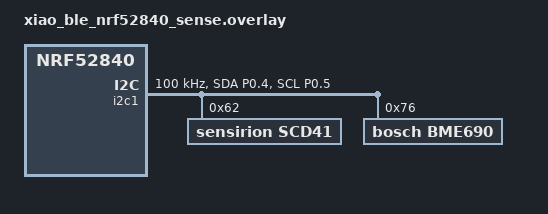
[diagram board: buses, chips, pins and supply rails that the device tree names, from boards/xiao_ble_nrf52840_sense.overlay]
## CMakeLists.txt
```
cmake_minimum_required(VERSION 3.20.0)

find_package(Zephyr REQUIRED HINTS $ENV{ZEPHYR_BASE})
project(co2_sensor)

target_sources(app PRIVATE 
   src/main.cpp
   src/bme690.cpp
   src/scd41.cpp
   src/task.cpp
   src/util.cpp
)
```

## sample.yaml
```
sample:
  name: I2C co2 sensor 
tests:
  sample.drivers.i2c.custom_target:
    tags: i2c_target
    platform_allow:
      - lpcxpresso55s69/lpc55s69/cpu0
    harness: TBD
```

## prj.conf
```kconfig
CONFIG_I2C=y
CONFIG_GPIO=y
CONFIG_SENSOR=y
CONFIG_SCD4X=y
CONFIG_BME690=y
CONFIG_CBPRINTF_FP_SUPPORT=y
CONFIG_I2C_SHELL=y
```

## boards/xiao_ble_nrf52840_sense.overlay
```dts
&pinctrl {
    i2c1_default: i2c1_default {
        group1 {
            psels = <NRF_PSEL(TWIM_SDA, 0, 4)>,
                    <NRF_PSEL(TWIM_SCL, 0, 5)>;
            bias-pull-up; 
        };
    };

    i2c1_sleep: i2c1_sleep {
        group1 {
            psels = <NRF_PSEL(TWIM_SDA, 0, 4)>,
                    <NRF_PSEL(TWIM_SCL, 0, 5)>;
            low-power-enable;
        };
    };
};

&i2c1 {
    compatible = "nordic,nrf-twim";
    status = "okay";
    clock-frequency = <I2C_BITRATE_STANDARD>;
    pinctrl-0 = <&i2c1_default>;
    pinctrl-1 = <&i2c1_sleep>;
    pinctrl-names = "default", "sleep";

    scd41: scd41@62 {
        compatible = "sensirion,scd41";
        reg = <0x62>;
        label = "SCD41";
        mode = <0>; // Normal periodic measurement
        status = "okay";
    };

    bme690: bme690@76 {
        compatible = "bosch,bme690";
        reg = <0x76>;
        label = "BME690";
        mode = <1>; // Single TPHG cycle is performed. Sensor automatically retruns to sleep mode. Gas sensopr heater only operates during gas measurement.
        status = "okay";
    };
};
```

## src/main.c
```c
/*
 * AirObserver 
 *
 * Created by Matias Villa
 *
 * INITIAL TESTING OF SCD41 AND BME690 CONNECTED TOGETHER IN PARALLEL ON BREADBOARD
 */

#include <zephyr/device.h>
#include <zephyr/kernel.h>
#include <zephyr/drivers/sensor.h>
#include <zephyr/drivers/i2c.h>
#include <zephyr/logging/log.h>
#include <zephyr/sys/__assert.h>
#include <zephyr/sys/byteorder.h>
#include <zephyr/sys/crc.h>
#include <zephyr/devicetree.h>
#include <zephyr/drivers/sensor/scd4x.h>
#include "bme690.h"
#include "scd41.h"

#define I2C0_NODE DT_NODELABEL(bme690)

const struct i2c_dt_spec bme_dev = I2C_DT_SPEC_GET(I2C0_NODE);
struct gas_info gas_calib;
struct gas_parsed curated_gas;

int main(void) {

   const struct device *const dev = DEVICE_DT_GET(DT_NODELABEL(scd41));
   
   k_sleep(K_SECONDS(2));
   printk("|BOOT|\n");

   // Make sure the driver initialized successfully on boot
   if (!device_is_ready(dev) || !device_is_ready(bme_dev.bus)) {
      printk("Sensors not ready!\n");
      return 0;
   } else printk("Sensors ready!\n");
   
   k_sleep(K_MSEC(200)); // Give some time to initialize the next sensor
  
   run_readings();

   while (true){
      printk("Performing gas resistance measurement...\n");

      start_gas_measurement();       // trigger a NEW measurement each cycle
      k_sleep(K_MSEC(1000));         // give heater + conversion time to complete

      bool is_ready = new_gas_readout();
      if (is_ready) {
         parse_gas_readings();
         printk("Gas resistance level is: [%.3f] ohms\n", (double)gas_calib.gas_ohms);
      } else printk("Measurement not ready this cycle, skipping.\n");
      

      k_sleep(K_MSEC(2000));        // spacing between measurement cycles
      if (sensor_sample_fetch(dev) < 0) {
         printk("Failed to fetch sample\n");
         continue;
      }

      fetch_scd41_readings();       
      // Measure every 5 seconds.
      k_sleep(K_MSEC(5000));
   }
} 
```

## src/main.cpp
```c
/*
 * 
 * main.cpp
 * Created by Matias Villa
 *
 * INITIAL TESTING OF SCD41 AND BME690 CONNECTED TOGETHER IN PARALLEL ON BREADBOARD
 */

#include <zephyr/device.h>
#include <zephyr/kernel.h>
#include <zephyr/drivers/sensor.h>
#include <zephyr/drivers/i2c.h>
#include <zephyr/devicetree.h>
#include <zephyr/drivers/sensor/scd4x.h>
#include "bme690.hpp"
#include "task.hpp"
#include "scd41.hpp"
#include "zephyr/sys/clock.h"

#define STACKSIZE          1024
#define BME690_PRIORITY    7
#define SCD41_PRIORITY     7

#define I2C0_NODE DT_NODELABEL(bme690)

K_THREAD_DEFINE(bme690_id, STACKSIZE, AirObserver::bme690_thread, NULL, NULL, NULL, BME690_PRIORITY, 0, K_TICKS_FOREVER);

K_THREAD_DEFINE(scd41_id, STACKSIZE, AirObserver::scd41_thread, NULL, NULL, NULL, SCD41_PRIORITY, 0, K_TICKS_FOREVER);

int main(void) {

//   const struct device *const dev = DEVICE_DT_GET(DT_NODELABEL(scd41));
   auto c = BME690::ctx(); 
   auto scd = SCD41::ctx_scd41();
   printk("|BOOT|\n");

   // Make sure the driver initialized successfully on boot
   if (!device_is_ready(scd.dev) || !device_is_ready(c.bme_dev.bus)) {
      printk("Sensors not ready!\n");
      return 0;
   } else printk("Sensors ready!\n");

   k_thread_start(bme690_id);
   k_thread_start(scd41_id);
   
} 
```

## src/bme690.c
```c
/*
 * AirObserver 
 *
 * Created by Matias Villa
 *
 * INITIAL TESTING OF THE BOSCH BME690 -> ONLY USING GAS SENSORS.
 */

#include <stdint.h>
#include <zephyr/device.h>
#include <zephyr/kernel.h>
#include <zephyr/drivers/i2c.h>
#include "bme690.h"

#define I2C0_NODE DT_NODELABEL(bme690)
// REGISTER ADDRESSES FOR CALCULATING GAS STUFF
#define     PAR_G1          0xED
#define     PAR_G2          0xEB
#define     PAR_G2_B        0xEC
#define     PAR_G3          0xEE
#define     RES_HEAT_RANGE  0x02
#define     RES_HEAT_VALUE  0x00
#define     AMB_TEMP        26
#define     TARGET_TEMP     200  
#define     CTRL_MEAS       0x74
#define     CTRL_GAS_1      0x71 // bit 5 = run_gas, bit <3:0> nb_conv 
#define     RES_HEAT_0      0x5a                                   
#define     GAS_WAIT_0      0x64  
#define     RESET_REG       0xE0
#define     RESET_CMD       0xB6
#define     CTRL_MEAS_OSRS  0x24  // temp x1, pressure x1, mode bits untouched here
#define     GAS_ADC         0x2D

extern const struct i2c_dt_spec           bme_dev;
extern struct gas_info                    gas_calib;
extern struct gas_parsed                  curated_gas;

void configure_oversampling(void){
   uint8_t ctrl_meas_val[2] = {CTRL_MEAS, CTRL_MEAS_OSRS};
   i2c_write_dt(&bme_dev, ctrl_meas_val, sizeof(ctrl_meas_val));
   k_sleep(K_MSEC(10));
}

void soft_reset(void){
   uint8_t buf[2] = {RESET_REG, RESET_CMD};
   i2c_write_dt(&bme_dev, buf, sizeof(buf));
   k_sleep(K_MSEC(100)); // datasheet: allow ~2ms, use 100ms super margin
}

void fetch_gas_values(void){
   // Fetch register values from registers and save to struct before performing heating of gas sensor
   uint8_t reg_1     =     PAR_G1;
   uint8_t reg_2     =     PAR_G2;
   uint8_t reg_3     =     PAR_G3;
   uint8_t range_reg =     RES_HEAT_RANGE;
   uint8_t val_reg   =     RES_HEAT_VALUE;
   uint8_t raw_range;
   int8_t  raw_val;

   i2c_write_read_dt(&bme_dev, &reg_1, 1, &gas_calib.par_g1, sizeof(gas_calib.par_g1));
   k_sleep(K_MSEC(50));
   i2c_write_read_dt(&bme_dev, &reg_2, 1, &gas_calib.par_g2, sizeof(gas_calib.par_g2));
   k_sleep(K_MSEC(50));
   i2c_write_read_dt(&bme_dev, &reg_3, 1, &gas_calib.par_g3, sizeof(gas_calib.par_g3));
   k_sleep(K_MSEC(50));

   i2c_write_read_dt(&bme_dev, &range_reg, 1, &raw_range, 1);
   gas_calib.res_range = (raw_range >> 4) & 0x03;   // res_heat_range bits <5:4>

   k_sleep(K_MSEC(50));
   i2c_write_read_dt(&bme_dev, &val_reg, 1, (uint8_t *)&raw_val, 1);
   gas_calib.res_heat = raw_val;                     
}

void calc_res_heat(void){
   // Formula provided by Bosch in the datasheet
   // Calculate the values necessary for sensor calibration
   double var1 = ((double)gas_calib.par_g1 / 16.0) + 49.0;
   double var2 = (((double)gas_calib.par_g2 / 32768.0) * 0.0005) + 0.00235;
   double var3 = (double)gas_calib.par_g3 / 1024.0;
   double var4 = var1 * (1.0 + (var2 * (double)TARGET_TEMP)); 
   double var5 = var4 + (var3 * (double)AMB_TEMP);
   double res_heat_x = (uint8_t)(3.4 * ((var5 * (4.0 / (4.0 + (double)gas_calib.res_range))) * (1.0 / (1.0 + (double)gas_calib.res_heat * 0.002))) - 25);
   // sensor is calibrated
   gas_calib.is_calib = res_heat_x;
}

void start_gas_measurement(void){
    uint8_t gas_wait_0[2] = {GAS_WAIT_0, 0x59};
    uint8_t res_heat_0[2] = {RES_HEAT_0, (uint8_t)gas_calib.is_calib};
    uint8_t ctrl_gas_1 = CTRL_GAS_1;
    uint8_t ctrl_meas = CTRL_MEAS;
    uint8_t run_gas;
    uint8_t set_mode;
    
    // 1) Set gas_wait_0 duration
    int err = i2c_write_dt(&bme_dev, gas_wait_0, sizeof(gas_wait_0));
    if (err != 0) printk("Error writing gas_wait_0\n");
    
    k_sleep(K_MSEC(10));

    // 2) Write target heater resistance to res_heat_0
    err = i2c_write_dt(&bme_dev, res_heat_0, sizeof(res_heat_0));
    if (err != 0) printk("Error writing res_heat_0\n");
    
    k_sleep(K_MSEC(10));

    // 3 & 4) Enable gas measurement bit (run_gas)
    err = i2c_write_read_dt(&bme_dev, &ctrl_gas_1, 1, &run_gas, 1);
    if (err != 0) {
        printk("Error reading ctrl_gas_1\n");
    } else {
        run_gas &= ~0x0F;     // clear nb_conv index to 0
        run_gas |= (1 << 5);  // set run_gas bit
        uint8_t buf[2] = {CTRL_GAS_1, run_gas};
        i2c_write_dt(&bme_dev, buf, sizeof(buf));
    }

    k_sleep(K_MSEC(10));

    // 5) Set mode <1:0> to 0b01 to trigger Forced Mode measurement
    err = i2c_write_read_dt(&bme_dev, &ctrl_meas, 1, &set_mode, 1);
    if (err != 0) {
        printk("Error reading ctrl_meas\n");
    } else {
        set_mode &= ~0x03; // Clear bits 1:0
        set_mode |= 0x01;  // Set Forced Mode (0b01)

        uint8_t buf2[2] = {CTRL_MEAS, set_mode};
        i2c_write_dt(&bme_dev, buf2, sizeof(buf2));
    }
}

void print_gas_values(){
   printk("*---CHECK VALUES FETCHED FROM REGISTERS---*\n");
   printk("PAR_G1:            [%d]\n", gas_calib.par_g1);
   printk("PAR_G2:            [%d]\n", gas_calib.par_g2);
   printk("PAR_G3:            [%d]\n", gas_calib.par_g3);
   printk("HEAT RESISTANCE:   [%d]\n", gas_calib.res_heat);
   printk("RESISTANCE RANGE:  [%d]\n", gas_calib.res_range);
}

void read_meas_regs(void){
   // Helper for debug prints
   uint8_t read_data_0;
   uint8_t meas_status_0 = 0x1D;

   // CHECK REGISTER CTRL_MEAS_0 TO SEE DATA
   int new_data = i2c_write_read_dt(&bme_dev, &meas_status_0, 1, &read_data_0, 1);
   if (new_data != 0) printk("Error writing to register\n");
   else printk("Data gathered from meas_status[0]: [%d]\n", read_data_0);
}

bool new_gas_readout(void){
   // IF HEAT_STAB_R IS EQUAL TO 1, SENSOR IS READY TO MEASURE GAS IN ENVIROEMENT
   uint8_t gas_r_lsb = 0x2D;
   uint8_t heat_stab_r;

   int err = i2c_write_read_dt(&bme_dev, &gas_r_lsb, 1, &heat_stab_r, 1);

   if (err != 0) {
      printk("Error writing to register\n");
      return false;
   }
   else{
      if ((heat_stab_r & 16) != 16){
         // CHECK IF VALUE OF BIT NUMBER 4 IS 1, IF 0 THERE IS NO VALID DATA.
         printk("There is no valid data. Value of bit 4 is: 0\n");
         return false;
      }
      printk("Sensor ready to perform readings!\n");
      curated_gas.heat_stab_reg = heat_stab_r;
      return true;
   }
}

void parse_gas_readings(void){
   // CONVERT GAS RESISTANCE MEASUREMENT TO OHMS. 
   // ELI5 EXPLANATION: THE GREATER THE RESISTANCE, CLEANER THE AIR.
   // YET TO IMPLEMENT A MORE INTUITIVE READING OF GAS IN ENVIROEMENT.
   uint8_t msb_reg = 0x2C;
   uint8_t lsb_reg = 0x2D;
   uint8_t gas_r_msb;
   uint8_t gas_r_lsb;
   uint16_t gas_adc;
   uint8_t gas_range;

   int err = i2c_write_read_dt(&bme_dev, &msb_reg, 1, &gas_r_msb, 1);
   if (err != 0) printk("Error reading gas_r_msb\n");

   err = i2c_write_read_dt(&bme_dev, &lsb_reg, 1, &gas_r_lsb, 1);
   if (err != 0) printk("Error reading gas_r_lsb\n");
   
   gas_adc   = ((uint16_t)gas_r_msb << 2) | (gas_r_lsb >> 6); // "Lives" on bit <7:6>
   gas_range = gas_r_lsb & 0x0F;                              // "Lives" on bits <3:0> 
   
   // DEBUG/CURIOSITY PRINT
   printk("gas_adc: [%d], gas_range: [%d]\n", gas_adc, gas_range);
   
   curated_gas.adc_gas = gas_adc;
   curated_gas.range_gas = gas_range;
   
   // FORMULA PROVIDED BY BOSCH DATASHEET ->
   // CONVERT ANALOG READS INTO OHMS
   uint32_t var1 = UINT32_C(262144) >> gas_range;
   int32_t var2 = (int32_t) gas_adc - INT32_C(512);
   var2 *= INT32_C(3);
   var2 = INT32_C(4096) + var2;
   float gas_res = 1000000.0f * (float)var1 / (float)var2;
   gas_calib.gas_ohms = gas_res;
}

void run_readings(void){
   uint8_t reg_addr = 0xD0;
   uint8_t chip_id = 0;

   //Fetch Chip ID to confirm a succesful I2C transaction
   int ret = i2c_write_read_dt(&bme_dev, &reg_addr, 1, &chip_id, 1);
   printk("Get CHIP ID from I2C bus to verify a succesful transaction: \n");
   if (ret != 0) {
       printk("Error reading Chip ID! Error code: %d\n", ret);
   } else {
       printk("Data gathered (Chip ID): [0x%02X]\n", chip_id);
   }
   k_sleep(K_MSEC(500)); 
   
   // EXPERIMENTAL GAS SENSOR SEQUENCE (FIELD 0)
   printk("Fetching values to perform calibration...\n");
   fetch_gas_values();
   print_gas_values();
   printk("Calculating res_heat_x\n");
   k_sleep(K_SECONDS(5));
   calc_res_heat();
   printk("res_heat_x: [%d]\n", gas_calib.is_calib);
   printk("Enabling gas measurment...\n");
   configure_oversampling();
   k_sleep(K_SECONDS(2));
   start_gas_measurement();
   k_sleep(K_SECONDS(2));
   read_meas_regs();
}
```

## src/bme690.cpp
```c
/*
 * bme690.cpp
 * Created by Matias Villa
 *
 */

#include <stdint.h>
#include <zephyr/device.h>
#include <zephyr/kernel.h>
#include <zephyr/drivers/i2c.h>
#include "bme690.hpp"
#include "util.hpp"

#define I2C0_NODE DT_NODELABEL(bme690)

namespace BME690
{

   measurement_steps          current_meas_step;      // mini statemachine for heating sensor 
   struct fetch_flag          gas_was_fetched;        // bool flags to verify succesful i2c transactions

   static uint8_t             gas_pool_idx;           // index for elements in gas queue 
   static size_t              step_idx         = 0;   // index for elements in the registers array
   static int                 retry_count      = 0;   // index for i2c retries when transaction fails on fetch work handler 
   static int                 meas_retry_count = 0;   // index for i2c retries when transaction fails on measurement work handler

   struct Context bme_ctx{
      .bme_dev = I2C_DT_SPEC_GET(I2C0_NODE),
   };
   
   Context& ctx() {return bme_ctx;}

   void fetch_work_handler(struct k_work *work) {
      // FETCH REGISTERS VALUES NECESSARY TO PERFORM SENSOR HEATING AND CALIBRATION
      auto &c = ctx();
      auto &c_util = UTIL::util_ctx();

      struct gas_fetched steps[] = {
         { BME690::REGISTERS::PAR_G1,         &c.gas_calib.par_g1,    sizeof(c.gas_calib.par_g1),    &gas_was_fetched.par_g1    },
         { BME690::REGISTERS::PAR_G2,         &c.gas_calib.par_g2,    sizeof(c.gas_calib.par_g2),    &gas_was_fetched.par_g2    },
         { BME690::REGISTERS::PAR_G3,         &c.gas_calib.par_g3,    sizeof(c.gas_calib.par_g3),    &gas_was_fetched.par_g3    },
         { BME690::REGISTERS::RES_HEAT_RANGE, &c.gas_calib.raw_range, sizeof(c.gas_calib.raw_range), &gas_was_fetched.res_range },
         { BME690::REGISTERS::RES_HEAT_VALUE, &c.gas_calib.raw_val,   sizeof(c.gas_calib.raw_val),   &gas_was_fetched.res_heat  },
      };

      struct gas_fetched *s = &steps[step_idx];

      int rc = i2c_write_read_dt(&c.bme_dev, &s->reg, 1, s->dest, s->len);

      if (rc == 0) {
         *s->fetched_flag = true;
         step_idx++;
         retry_count = 0;
      } else {
         printk("I2C error on step %u (reg 0x%02x): [%d]\n", step_idx, s->reg, rc);
         retry_count++;
         if (retry_count >= BME690::I2C_RETRY) {
            *s->fetched_flag = false;   // give up on this one, move on so we don't hang forever
            step_idx++;
            retry_count = 0;
         }
         // else: step_idx unchanged -> same step gets retried on next schedule
      }

      if (step_idx < ARRAY_SIZE(steps)) {
         k_work_schedule(&c_util.gas_work, K_MSEC(UTIL::I2C_WAIT_MS));
      } else {
         c.gas_calib.res_range = (c.gas_calib.raw_range >> 4) & 0x03;   // bits <5:4>
         c.gas_calib.res_heat  = c.gas_calib.raw_val;
         step_idx = 0;   // reset for next fetch cycle
         k_sem_give(&c_util.sem_gas);
      }
   }

   void configure_oversampling(void) {
      auto &c = ctx();
      // configure sensor oversampling rate for gas sensor
      uint8_t ctrl_meas_val[2] = {BME690::REGISTERS::CTRL_MEAS, BME690::REGISTERS::CTRL_MEAS_OSRS};
      i2c_write_dt(&c.bme_dev, ctrl_meas_val, sizeof(ctrl_meas_val));
   }

   void soft_reset(void) {
      auto &c = ctx();
      // PERORM A SOFTWARE RESET
      uint8_t buf[2] = {BME690::REGISTERS::RESET_REG, BME690::REGISTERS::RESET_CMD};
      i2c_write_dt(&c.bme_dev, buf, sizeof(buf));
   }

   void calc_res_heat(void) {
      // Formula provided by Bosch in the datasheet
      // Calculate the values necessary for sensor calibration
      // Heat resistance calculation
      auto &c = ctx();
      double var1       = ((double)c.gas_calib.par_g1 / 16.0) + 49.0;
      double var2       = (((double)c.gas_calib.par_g2 / 32768.0) * 0.0005) + 0.00235;
      double var3       = (double)c.gas_calib.par_g3 / 1024.0;
      double var4       = var1 * (1.0 + (var2 * (double)BME690::REGISTERS::TARGET_TEMP));
      double var5       = var4 + (var3 * (double)BME690::REGISTERS::AMB_TEMP);
      double res_heat_x = (uint8_t)(3.4 * ((var5 * (4.0 / (4.0 + (double)c.gas_calib.res_range))) *
                           (1.0 / (1.0 + (double)c.gas_calib.res_heat * 0.002))) - 25);
      // sensor is calibrated
      c.gas_calib.is_calib = res_heat_x;
   }

   void measurement_work_handler(struct k_work *measurements) {
      // HEAT GAS SENSOR
      auto &c = ctx();
      auto &util_c = UTIL::util_ctx();

      uint8_t gas_wait_0[2] = {BME690::REGISTERS::GAS_WAIT_0, 0x59};
      uint8_t res_heat_0[2] = {BME690::REGISTERS::RES_HEAT_0, (uint8_t)c.gas_calib.is_calib};
      uint8_t ctrl_gas_1    =  BME690::REGISTERS::CTRL_GAS_1;
      uint8_t ctrl_meas     =  BME690::REGISTERS::CTRL_MEAS;
      uint8_t run_gas;
      uint8_t set_mode;
      int rc = 0;

      switch (current_meas_step) {

      case GAS_WAIT_X:
         rc = i2c_write_dt(&c.bme_dev, gas_wait_0, sizeof(gas_wait_0));
         if (rc != 0) {
            printk("Error writing gas_wait_0: [%d]\n", rc);
            if (++meas_retry_count < BME690::I2C_RETRY) {
               k_work_schedule(&util_c.meas_steps, K_MSEC(UTIL::I2C_WAIT_MS));
               return;   // retry same step
            }
            printk("Giving up on gas_wait_0 after %d retries\n", BME690::I2C_RETRY);
         }
         meas_retry_count  = 0;
         current_meas_step = RES_HEAT_X;
         k_work_schedule(&util_c.meas_steps, K_MSEC(UTIL::I2C_WAIT_MS));
         break;

      case RES_HEAT_X:
         rc = i2c_write_dt(&c.bme_dev, res_heat_0, sizeof(res_heat_0));
         if (rc != 0) {
            printk("Error writing res_heat_0: [%d]\n", rc);
            if (++meas_retry_count < BME690::I2C_RETRY) {
               k_work_schedule(&util_c.meas_steps, K_MSEC(UTIL::I2C_WAIT_MS));
               return;
            }
            printk("Giving up on res_heat_0 after %d retries\n", BME690::I2C_RETRY);
         }
         meas_retry_count  = 0;
         current_meas_step = RUN_GAS;
         k_work_schedule(&util_c.meas_steps, K_MSEC(UTIL::I2C_WAIT_MS));
         break;

      case RUN_GAS:
         rc = i2c_write_read_dt(&c.bme_dev, &ctrl_gas_1, 1, &run_gas, 1);
         if (rc != 0) {
            printk("Error reading ctrl_gas_1: [%d]\n", rc);
            if (++meas_retry_count < BME690::I2C_RETRY) {
               k_work_schedule(&util_c.meas_steps, K_MSEC(UTIL::I2C_WAIT_MS));
               return;
            }
            printk("Giving up on ctrl_gas_1 after %d retries\n", BME690::I2C_RETRY);
            meas_retry_count  = 0;
            current_meas_step = NB_CONV;   // don't hang forever, but run_gas bit is unset
            k_work_schedule(&util_c.meas_steps, K_MSEC(UTIL::I2C_WAIT_MS));
            break;
         }
         run_gas &= ~0x0F;     // clear nb_conv index to 0
         run_gas |= (1 << 5);  // set run_gas bit
         {
            uint8_t buf[2] = {BME690::REGISTERS::CTRL_GAS_1, run_gas};
            i2c_write_dt(&c.bme_dev, buf, sizeof(buf));
         }
         meas_retry_count  = 0;
         current_meas_step = NB_CONV;
         k_work_schedule(&util_c.meas_steps, K_MSEC(UTIL::I2C_WAIT_MS));
         break;

      case NB_CONV:
         rc = i2c_write_read_dt(&c.bme_dev, &ctrl_meas, 1, &set_mode, 1);
         if (rc != 0) {
            printk("Error reading ctrl_meas register: [%d]\n", rc);
            if (++meas_retry_count < BME690::I2C_RETRY) {
               k_work_schedule(&util_c.meas_steps, K_MSEC(UTIL::I2C_WAIT_MS));
               return;
            }
            printk("Giving up on ctrl_meas after %d retries\n", BME690::I2C_RETRY);
            meas_retry_count = 0;
            k_sem_give(&util_c.sem_meas);   // don't leave bme690_thread blocked forever
            break;
         }
         set_mode &= ~0x03;   // Clear bits 1:0
         set_mode |= 0x01;    // Set Forced Mode (0b01)
         {
            uint8_t buf2[2] = {BME690::REGISTERS::CTRL_MEAS, set_mode};
            i2c_write_dt(&c.bme_dev, buf2, sizeof(buf2));
         }
         meas_retry_count = 0;
         k_sem_give(&util_c.sem_meas);
         break;
      }
   }

   bool new_gas_readout(void) {
      // IF HEAT_STAB_R IS EQUAL TO 1, SENSOR IS READY TO MEASURE GAS IN ENVIROEMENT
      auto &c = ctx();
      uint8_t gas_r_lsb = 0x2D;
      uint8_t heat_stab_r;

      int rc = i2c_write_read_dt(&c.bme_dev, &gas_r_lsb, 1, &heat_stab_r, 1);

      if (rc != 0) {
         printk("Error writing to register\n");
         return false;
      } else {
         if ((heat_stab_r & 16) != 16) {
            // CHECK IF VALUE OF BIT NUMBER 4 IS 1, IF 0 THERE IS NO VALID DATA.
            printk("There is no valid data. Value of bit 4 is: 0\n");
            return false;
         }
         //printk("Sensor ready to perform readings!\n");
         c.curated_gas.heat_stab_reg = heat_stab_r;
         return true;
      }
   }

   void parse_gas_readings(void) {
      // CONVERT GAS RESISTANCE MEASUREMENT TO OHMS.
      // ELI5 EXPLANATION: THE GREATER THE RESISTANCE, CLEANER THE AIR.
      // YET TO IMPLEMENT A MORE INTUITIVE READING OF GAS IN ENVIROEMENT.
      auto &c = ctx();

      uint8_t  msb_reg = 0x2C;
      uint8_t  lsb_reg = 0x2D;
      uint8_t  gas_r_msb;
      uint8_t  gas_r_lsb;
      uint16_t gas_adc;
      uint8_t  gas_range;

      int err = i2c_write_read_dt(&c.bme_dev, &msb_reg, 1, &gas_r_msb, 1);
      if (err != 0) printk("Error reading gas_r_msb\n");

      err = i2c_write_read_dt(&c.bme_dev, &lsb_reg, 1, &gas_r_lsb, 1);
      if (err != 0) printk("Error reading gas_r_lsb\n");

      gas_adc   = ((uint16_t)gas_r_msb << 2) | (gas_r_lsb >> 6);   // "Lives" on bit <7:6>
      gas_range = gas_r_lsb & 0x0F;                                // "Lives" on bits <3:0>

      c.curated_gas.adc_gas   = gas_adc;
      c.curated_gas.range_gas = gas_range;

      // FORMULA PROVIDED BY BOSCH DATASHEET ->
      // CONVERT ANALOG READS INTO OHMS
      uint32_t var1 = UINT32_C(262144) >> gas_range;
      int32_t  var2 = (int32_t)gas_adc - INT32_C(512);
      var2 *= INT32_C(3);
      var2 = INT32_C(4096) + var2;
      float gas_res = 1000000.0f * (float)var1 / (float)var2;
      c.gas_calib.gas_ohms = gas_res;
   }
   
   void gas_sample_push(float value) {
      // PUSH GAS RESISTANCE FUNCTION TO ITS QUEUE 
      auto &c = ctx(); 
      auto *item = &c.gas_pool[gas_pool_idx];
      gas_pool_idx = (gas_pool_idx + 1) % BME690::GAS_TOTAL_QUE;

       item->value = value;
       k_queue_append(&c.gas_queue, item);
   }

   float avg_gas_measured(struct k_queue *gas_que) {
      // RETURNS THE AVERAGE OF 8 SAMPLES 
      float sum = 0.0f;
      int count = 0;

      while (!k_queue_is_empty(gas_que)) {
         void *data = k_queue_get(gas_que, K_MSEC(UTIL::QUE_DELAY));
         if (data == NULL) {
            break;
         }
         auto *item = static_cast<gas_que_item *>(data);
         sum += item->value;
         count++;
      }

      return (count > 0) ? (sum / count) : 0.0f;
   }
   
   void run_bme690_readings(void) {
      // EXPERIMENTAL GAS SENSOR SEQUENCE (FIELD 0)
      current_meas_step = GAS_WAIT_X;

      auto &ctx_util = UTIL::util_ctx();
      
      // SCHEDULE WORKS
      k_work_schedule(&ctx_util.gas_work, K_NO_WAIT);
      k_work_schedule(&ctx_util.meas_steps, K_NO_WAIT);
      
      k_sem_take(&ctx_util.sem_gas, K_FOREVER);
      k_sem_take(&ctx_util.sem_meas, K_FOREVER);

      calc_res_heat();

      configure_oversampling();
   }
     
   
}
```

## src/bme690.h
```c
/*
 *  AirObserver 
 *
 *  Created by Matias Villa
 *
 *  INITIAL TESTING OF THE BME690: GAS AND AIR PRESSURE SENSOR
*/

#ifndef BME690_H
#define BME690_H

#include <stdint.h>
#include <stdbool.h>

struct gas_info {
   uint8_t  par_g1;
   int16_t  par_g2;
   int8_t   par_g3;
   int8_t   res_heat;
   uint8_t  res_range;
   uint8_t  is_calib;
   float    gas_ohms;
};

struct gas_parsed {
   uint16_t    adc_gas;
   uint8_t     range_gas;
   uint8_t     heat_stab_reg;
};

void fetch_gas_values(void);
void calc_res_heat(void);
void start_gas_measurement(void);
void print_gas_values(void);
void read_meas_regs(void);
void soft_reset(void);
void configure_oversampling(void);
void parse_gas_readings(void);
void run_readings(void);
bool new_gas_readout(void);

#endif // BME690_H
```

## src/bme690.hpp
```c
/*
 *  bme690.hpp
 *  Created by Matias Villa
 *
*/
#pragma once

#ifndef BME690_HPP
#define BME690_HPP

#include <stdint.h>
#include <stdbool.h>
#include "zephyr/drivers/i2c.h"
#include "zephyr/kernel.h"

namespace BME690
{

   namespace REGISTERS
   {
      // REGISTER ADDRESSES FOR CALCULATING GAS STUFF
      constexpr uint8_t PAR_G1            = 0xED; // CALIBRATION PARAMETER 
      constexpr uint8_t PAR_G2            = 0xEC; // CALIBRATION PARAMETER
      constexpr uint8_t PAR_G2_B          = 0xEC; // CALIBRATION PARAMETER
      constexpr uint8_t PAR_G3            = 0xEE; // CALIBRATION PARAMETER
      constexpr uint8_t RES_HEAT_RANGE    = 0x02; // HEATER RANGE IN BIT <5:4>
      constexpr uint8_t RES_HEAT_VALUE    = 0x00; // HEATER RESISTANCE CORRECTION FACTOR
      constexpr uint8_t AMB_TEMP          = 26;   // ESTIMATED ENVIROMENTAL TEMPERATURE
      constexpr uint8_t TARGET_TEMP       = 200;  // TEMPERATURE TO HEAT SENSOR (CELSIUS)
      constexpr uint8_t CTRL_MEAS         = 0x74; // SELECT SENSOR POWER MODE 
      constexpr uint8_t CTRL_GAS_1        = 0x71; // bit = run_gas, bit <3:0> = nb_conv 
      constexpr uint8_t RES_HEAT_0        = 0x5A; // TARGET HEATER RESISTANCE
      constexpr uint8_t GAS_WAIT_0        = 0x64; // SETS THE WAIT TIME FOR GAS MEASUREMENT IN SECONDS 
      constexpr uint8_t RESET_REG         = 0xE0; // SOFTWARE RESET REGISTER 
      constexpr uint8_t RESET_CMD         = 0xB6; // SOFTWARE RESET COMMAND 
      constexpr uint8_t CTRL_MEAS_OSRS    = 0x24; // TEMP X1, PRESSURE X1, MODE BITS UNTOUCHED HERE 
      constexpr uint8_t GAS_ADC           = 0x2D; // GAS ADC DATA REGISTER 
   }

   constexpr uint8_t I2C_RETRY         = 3;    // RETRY UPON UNSUCCESFUL I2C TRANSACTION
   constexpr uint8_t GAS_TOTAL_QUE     = 8;    // SIZE OF QUEUE 


   // GAS INFO STRUCT STORES ALL THE RAW VALUES FETCHED FROM REGISTERS
   struct gas_info {
      uint8_t  par_g1;     // STORE VALUE FROM PARTIAL GAS DATA REGISTER 1
      int16_t  par_g2;     // STORE VALUE FROM PARTIAL GAS DATA REGISTER 2
      int8_t   par_g3;     // STORE VALUE FROM PARTIAL GAS DATA REGISTER 3
      int8_t   res_heat;   // IS THE DECIMAL VALUE THAT NEEDS TO BE STORED IN REGISTER, WHERE X CORRESPONDS TO THE TEMPERATURE PROFILE NUMBER BETWEEN 0 AND 9
      uint8_t  res_range;  // HEATER RANGE STORED IN REGISTERED ADDRESS 0x02 <5:4>,
      uint8_t  is_calib;   // IF is_calib == 0 -> SENSOR NOT CALIBRATED, IF is_calib == 1 -> SENSOR IS CALIBRATED
      float    gas_ohms;   // VALUE OF GAS RESISTANCE
      uint8_t  raw_range;
      int8_t   raw_val;
   };
   // VALIDATE THAT EACH REGISTER FROM GAS_INFO GOT THE CORRECT VALUE FROM I2C TRANSACTION

   struct gas_fetched {
      uint8_t  reg;              // VALUE FROM REGISTER 
      void     *dest;            // POINTER TO VARIABLA THAT WILL HOLD THE VALUE COMING FROM THE REGISTER 
      size_t   len;              // SIZE OF DATA 
      bool     *fetched_flag;    // TRUE FOR SUCCESFUL I2C TRANSACTION
   };

   struct fetch_flag {
      // FLAGAS FOR SUCCESFUL I2C TRANSACTIONS WHEN FETCHING FROM REGISTERS BEFORE PERFORMING CALIBRATION
      bool par_g1;
      bool par_g2;
      bool par_g3;
      bool res_range;
      bool res_heat;
   };

   // GAS PARSED STORES ALL THE DATA RESULTING FROM CALCULATIONS ON THE RAW REGISTER DATA
   struct gas_parsed {
      uint16_t    adc_gas;          // RAW RESISTANCE OUTPUT DATA 
      uint8_t     range_gas;        // ADC RAMGE OF THE MEASURED GAS RESISTANCE 
      uint8_t     heat_stab_reg;    // IF HEAT_STAB_R IS ZERO, IT INDICATES THAT EITHER THE HEATING TIME WAS NOT ENOUGH TO ALLOW THE SENSOR TO REACH TO CONFIGURED TARGET TEMPERATURE OR THAT THE TARGET TEMPERATURE WAS TOO HIGH FOR THE SENSOR TO REACH.
   };

   struct gas_que_item {
      void *reserved;
      float value;
   };

   typedef enum {
      GAS_WAIT_X,
      RES_HEAT_X,
      RUN_GAS,
      NB_CONV,
   } measurement_steps;
   
   struct Context {
      i2c_dt_spec    bme_dev;       // I2C 
      gas_info       gas_calib;     // CALIBRATION VALUES 
      gas_parsed     curated_gas;   // VALUES AFTER CALCULATIONS 
      k_queue        gas_queue;     // QUUEUE FOR GAS RESISTANCE READINGS 
      gas_que_item   gas_pool[BME690::GAS_TOTAL_QUE];
   };
 
   Context& ctx(void);

   void fetch_gas_values(void);           // FETCH VALUES FROM REGISTERS TO START CALCULATIOS AND CONVERSIONS FOR MEASURING GAS IN ENVIROMENT
   void calc_res_heat(void);              // CALCULATE HEAT RESISTANCE 
   void start_gas_measurement(void);      // PERFORM GAS MEASUREMENTS
   void soft_reset(void);                 // PERFORM A SOFT RESET, HAS THE SAME EFFECT AS POWER-ON RESET
   void configure_oversampling(void);     // READS MULTIPLE SAMPLES AND AVERAGES THEM TO IMPROVE MEASUREMENT STABILITY. 
   void parse_gas_readings(void);         // CONVERT RAW ADC GAS DATA TO OHMS
   void run_bme690_readings(void);        // READ RESISTANCE DATA ALREADY CONVERTED TO OHMS 
   void fetch_work_handler(struct k_work *work);
   void measurement_work_handler(struct k_work *measurements);
   bool new_gas_readout(void);            // CHECK IF THERE IS A NEW VALID READ
   void gas_sample_push(float gas_item);
   float avg_gas_measured(struct k_queue *gas_queue);

}

#endif // BME690_HPP
```

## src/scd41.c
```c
/*
 *  AirObserver 
 *
 *  Created by Matias Villa
 *
 *  INITIAL TESTING OF THE SCD41: CO2, TEMPERATURE AND HUMIDITY SENSOR.
*/

#include <zephyr/device.h>
#include <zephyr/kernel.h>
#include <zephyr/drivers/sensor.h>
#include <zephyr/drivers/i2c.h>
#include <zephyr/logging/log.h>
#include <zephyr/sys/__assert.h>
#include <zephyr/sys/byteorder.h>
#include <zephyr/sys/crc.h>
#include <zephyr/devicetree.h>
#include <zephyr/drivers/sensor/scd4x.h>
#include "scd41.h"

struct recalib_values recalibration;
struct scd41_readings enviroment_data;
const struct device *dev = DEVICE_DT_GET(DT_NODELABEL(scd41));

bool force_scd41_recalib(void){

   // Force recalibration and put the device to sleep for 3 minutes

   recalibration.target_ppm = 430; // 430 ppm as target value for calibration
   printk("Forced recalibration about to start. Duration time: 3 minutes.\n"); 
   k_sleep(K_MINUTES(3));
   // Stop measurement before triggering forced recalibration 
   int recalib = scd4x_forced_recalibration(dev, recalibration.target_ppm, &recalibration.correction);
   
   if (recalib == 0){
      printk("Calibration succesfull\n");
      k_sleep(K_MSEC(400)); // wait 400 miliseconds before
      return true;
   }
   else {
      printk("Forced calibration failed. Error code [%d]\n", recalib);
      return false;
   }
}

void fetch_scd41_readings(void){
   sensor_channel_get(dev, SENSOR_CHAN_CO2, &enviroment_data.co2);
   sensor_channel_get(dev, SENSOR_CHAN_AMBIENT_TEMP, &enviroment_data.temp);
   sensor_channel_get(dev, SENSOR_CHAN_HUMIDITY, &enviroment_data.humidity);

   // Print data 
   
   printk("CO2: %d ppm | Temp: %d C | Humidity: %d/100\n", enviroment_data.co2.val1, enviroment_data.temp.val1, enviroment_data.humidity.val1);
}
```

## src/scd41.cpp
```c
/*
 *  
 *  scd41.cpp
 *  Created by Matias Villa
 *
 *  INITIAL TESTING OF THE SCD41: CO2, TEMPERATURE AND HUMIDITY SENSOR.
*/

#include <zephyr/device.h>
#include <zephyr/kernel.h>
#include <zephyr/drivers/sensor.h>
#include <zephyr/drivers/i2c.h>
#include <zephyr/logging/log.h>
#include <zephyr/sys/__assert.h>
#include <zephyr/sys/byteorder.h>
#include <zephyr/sys/crc.h>
#include <zephyr/devicetree.h>
#include <zephyr/drivers/sensor/scd4x.h>
#include "scd41.hpp"
#include "util.hpp"


namespace SCD41
{

   struct recalib_values   recalibration;
   step_readings           scd41_steps;

   struct Context_scd41 scd_ctx {
      .dev = DEVICE_DT_GET(DT_NODELABEL(scd41))
   };
   // FUNCTIONS
   Context_scd41& ctx_scd41(void) {return scd_ctx;}
   
   void queue_sample_push(int item_queue, struct que_item *pool, uint8_t *idx, struct k_queue *que){
      // PUSH SAMPLE MEASURED TO QUEUE 
      struct que_item *item = &pool[*idx];
      *idx = (*idx + 1) % QUE_SIZE; // MAKE SURE THAT ONLY 8 SAMPLES ARE PUSHED TO THE QUEUE 

      item->value = item_queue;
      k_queue_append(que, item);
   }
   
   float avg_measured(struct k_queue *que) {
      // RETURNS THE AVERAGE OF 8 SAMPLES
      float sum = 0.0f;
      int count = 0;

      while (!k_queue_is_empty(que)) {
         void *data = k_queue_get(que, K_MSEC(UTIL::QUE_DELAY));
         if (data == NULL) {
            break;
         }
//       struct que_item *item = (struct que_item *)data;
         auto *item = static_cast<que_item *>(data);
         sum += item->value;
         count++;
      }

      return (count > 0) ? (sum / count) : 0.0f;
   }

   bool force_scd41_recalib(void){

      // Force recalibration and put the device to sleep for 3 minutes
      auto &c = ctx_scd41();
      recalibration.target_ppm = 430; // 430 ppm as target value for calibration
      printk("Forced recalibration about to start. Duration time: 3 minutes.\n"); 
      k_sleep(K_MINUTES(3));
      // Stop measurement before triggering forced recalibration 
      int recalib = scd4x_forced_recalibration(c.dev, recalibration.target_ppm, &recalibration.correction);
      
      if (recalib == 0){
         printk("Calibration succesfull\n");
         k_sleep(K_MSEC(400)); // wait 400 miliseconds before
         return true;
      }
      else {
         printk("Forced calibration failed. Error code [%d]\n", recalib);
         return false;
      }
   }

   void fetch_scd41_readings(struct k_work *read_scd41){
      // GET THE SAMPLES FROM THE SENSOR
      auto &c = ctx_scd41();
      auto &util_c = UTIL::util_ctx();
      switch (scd41_steps){
         case CO2:
            sensor_channel_get(c.dev, SENSOR_CHAN_CO2, &c.enviroment_data.co2);
            scd41_steps = TEMP;
            k_work_schedule(&util_c.meas_scd41, K_MSEC(UTIL::I2C_WAIT_MS));
            break;

         case TEMP:
            sensor_channel_get(c.dev, SENSOR_CHAN_AMBIENT_TEMP, &c.enviroment_data.temp);
            scd41_steps = HUMIDITY;
            k_work_schedule(&util_c.meas_scd41, K_MSEC(UTIL::I2C_WAIT_MS));
            break;

         case HUMIDITY:
            sensor_channel_get(c.dev, SENSOR_CHAN_HUMIDITY, &c.enviroment_data.humidity);
            k_sem_give(&util_c.sem_scd41);
            break;
      }
   }

   void run_scd41_readings(void){
      auto &util_c = UTIL::util_ctx();
      scd41_steps = CO2;
      k_work_schedule(&util_c.meas_scd41, K_NO_WAIT);
      k_sem_take(&util_c.sem_scd41, K_FOREVER);

   }
   
}
```

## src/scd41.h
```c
/*
 *  AirObserver 
 *
 *  Created by Matias Villa
 *
 *  INITIAL TESTING OF THE SCD41: CO2, TEMPERATURE AND HUMIDITY SENSOR.
*/

#ifndef SCD41_H
#define SCD41_H

#include <stdint.h>
#include <zephyr/drivers/sensor/scd4x.h>
#include <stdbool.h>

bool force_scd41_recalib(void);
void fetch_scd41_readings(void);

struct scd41_readings {
   struct sensor_value co2;
   struct sensor_value temp;
   struct sensor_value humidity;
};

struct recalib_values {
   uint16_t correction;
   uint16_t target_ppm;
};


extern const struct device *dev;
extern struct scd41_readings enviroment_data;

#endif // SCD41_H
```

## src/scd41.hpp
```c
/*
 *  
 *  scd41.hpp  
 *  Created by Matias Villa
 *
 *  INITIAL TESTING OF THE SCD41: CO2, TEMPERATURE AND HUMIDITY SENSOR.
*/

#pragma once

#ifndef SCD41_HPP
#define SCD41_HPP

#include <stdbool.h>
#include <stdint.h>
#include <zephyr/drivers/sensor/scd4x.h>

namespace SCD41
{
   constexpr uint8_t RETRY_I2C   = 3;
   constexpr uint8_t QUE_SIZE    = 8;

   struct scd41_readings {
      struct sensor_value co2;
      struct sensor_value temp;
      struct sensor_value humidity;
   };

   struct recalib_values {
      uint16_t correction;
      uint16_t target_ppm;
   };

   struct que_item {
      void *reserved;
      int value;
   };
     
   typedef enum {
      CO2,
      TEMP,
      HUMIDITY
   } step_readings;

   struct Context_scd41 {
      const struct device *dev;
      scd41_readings enviroment_data;
      // queues 
      k_queue co2_queue;
      k_queue temp_queue;
      k_queue humid_queue;
      // item queues 
      que_item sample_pool[QUE_SIZE];
      que_item co2_pool[QUE_SIZE];
      que_item temp_pool[QUE_SIZE];
      que_item humid_pool[QUE_SIZE];
   };

   Context_scd41& ctx_scd41(void);
   bool  force_scd41_recalib(void);
   void  fetch_scd41_readings(struct k_work *read_scd41);
   void  run_scd41_readings(void);
   void  queue_sample_push(int item_queue, struct que_item *pool, uint8_t *idx, struct k_queue *que);
   float avg_measured(struct k_queue *que);


}   


#endif // SCD41_H
```

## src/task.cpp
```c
/*    
 *    task.cpp
 *    Matias Villa
 *
 */

#include <zephyr/kernel.h>
#include "scd41.hpp"
#include "bme690.hpp"
#include "task.hpp"
#include "util.hpp"

namespace AirObserver {
   
   void bme690_thread(void){
      // THREAD FOR GAS SENSOR AKA TASK IN FREERTOS
      auto &c = BME690::ctx(); // INITIALIZE REFERENCE TO CONTEXT OBJECT 
      auto &util_context = UTIL::util_ctx(); // INITIALIZE REFERENCE TO UTIL CONTEXT OBJECT
      uint8_t avg_index = 0;   // INDEX FOR TAKING THE AVERAGE OF THE SAMPLES
      
      // WORKQUEUE
      k_work_init_delayable(&util_context.gas_work, BME690::fetch_work_handler);
      k_work_init_delayable(&util_context.meas_steps, BME690::measurement_work_handler);
      // INITITALIZE QUEUE 
      k_queue_init(&c.gas_queue);              
      // SEMAPHORES
      k_sem_init(&util_context.sem_gas, 0, 1);  // INITIALIZE SEMAPHORE FOR REGISTER FETCHING 
      k_sem_init(&util_context.sem_meas, 0, 1); // INITIALIZE SEMAPHORE FOR HEATING SENSOR STEPS
      
      while (1){
         
         k_mutex_lock(&UTIL::air_mutex, K_FOREVER); // lock the mutex to perform reaings and take the average of the samples

         BME690::run_bme690_readings();

         bool is_ready = BME690::new_gas_readout(); // check that there is a valid gas reading
         
         if (is_ready) {
            BME690::parse_gas_readings();
            BME690::gas_sample_push(c.gas_calib.gas_ohms);
            avg_index++;
            if (avg_index == BME690::GAS_TOTAL_QUE){
               // PRINT THE RESISTANCE MEASURED TO CONSOLE AND RESET THE INDEX
               float avg = BME690::avg_gas_measured(&c.gas_queue);
               printk("Gas resistance level is: [%.3f] ohms\n", (double)avg);
               avg_index = 0;
            }
         } 
         else printk("Measurement not ready this cycle, skipping.\n");

         k_mutex_unlock(&UTIL::air_mutex); // UNLOCK MUTEX FOR SCD41 SENSOR
      }

   }

   void scd41_thread(void){
      // THREAD FOR CO2, TEMP AND HUMIDITY SENSOR AKA TASK IN FREERTOS 
      auto &c = SCD41::ctx_scd41(); // INITIALIZE REFERENCE TO CONTEXT OBJECT
      
      auto &util_context = UTIL::util_ctx(); // INITIALIZE REFERENCE TO UTIL CONTEXT OBJECT
      // WORKQUEUE 
      k_work_init_delayable(&util_context.meas_scd41, SCD41::fetch_scd41_readings);
      // SEMAPHORE 
      k_sem_init(&util_context.sem_scd41, 0, 1);
      // INITIALIZE ALL QUEUES 
      k_queue_init(&c.co2_queue);
      k_queue_init(&c.temp_queue);
      k_queue_init(&c.humid_queue);
      
      // INDEXES FOR QUEUES 
      uint8_t tmp_idx      = 0;
      uint8_t co2_idx      = 0;
      uint8_t hmd_idx      = 0;
      uint8_t sample_count = 0;

      while (1){
     
         k_mutex_lock(&UTIL::air_mutex, K_FOREVER); // LOCK THE MUTEX WHILE PERFORMING READINGS

         if (sensor_sample_fetch(c.dev) < 0) {
            printk("Failed to fetch sample\n");
            k_mutex_unlock(&UTIL::air_mutex); // UNLOCK MUTEX FOR BME690 SENSOR
            continue;
         }
         
         // RUN READINGS AND PUSH THEM TO ITS OWN QUEUE 
         SCD41::run_scd41_readings();
         SCD41::queue_sample_push(c.enviroment_data.co2.val1,      c.co2_pool,   &co2_idx, &c.co2_queue);
         SCD41::queue_sample_push(c.enviroment_data.temp.val1,     c.temp_pool,  &tmp_idx, &c.temp_queue);
         SCD41::queue_sample_push(c.enviroment_data.humidity.val1, c.humid_pool, &hmd_idx, &c.humid_queue);
         
         sample_count++;

         if (sample_count == SCD41::QUE_SIZE){
            // PRINT READINGS TO CONSOLE AND RESET SAMPLE COUNT INDEX 
            float co2_avg     = SCD41::avg_measured(&c.co2_queue);
            float temp_avg    = SCD41::avg_measured(&c.temp_queue);
            float humid_avg   = SCD41::avg_measured(&c.humid_queue);

            printk("CO2: %.2f ppm | Temp: %.2f C | Humidity: %.2f/100\n", co2_avg, temp_avg, humid_avg);
            
            sample_count = 0;
         }
         
         k_mutex_unlock(&UTIL::air_mutex); // UNLOCK MUTEX FOR BME690 SENSOR
      }
   }
 
}
```

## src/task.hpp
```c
/*    
 *    task.hpp
 *    Matias Villa
 *
 */
#pragma once

#ifndef TASK_HPP
#define TASK_HPP

#include <zephyr/kernel.h>

namespace AirObserver{

   void bme690_thread(void);
   void scd41_thread(void);
}

#endif
```

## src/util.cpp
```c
/*    
 *    util.cpp
 *    Matias Villa
 */

#include <stdint.h>
#include <zephyr/kernel.h>
#include "util.hpp"

namespace UTIL {
   K_MUTEX_DEFINE(air_mutex);
   

   Context_util CTX_UTIL;
   Context_util& util_ctx(void) {return CTX_UTIL;}
}
```
